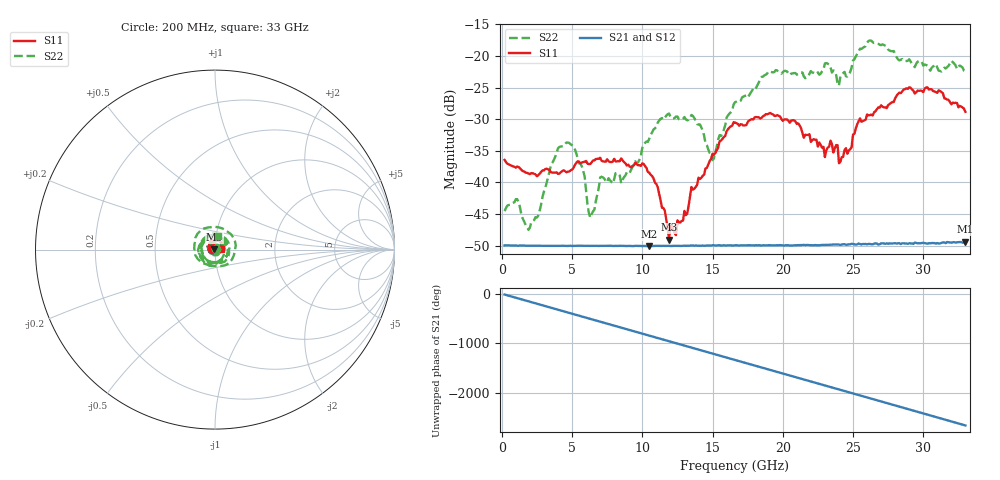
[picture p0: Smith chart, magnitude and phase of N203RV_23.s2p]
# GHZ S RI R 50
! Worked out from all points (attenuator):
!   329 points, 200 MHz to 33 GHz, reference 50 ohm
!   highest |S21| = -49.39 dB at 33 GHz (marker M1); lowest = -50.1 dB at 10.5 GHz (marker M2)
!   lowest |S11| = -49.1 dB at 11.9 GHz (marker M3), VSWR 1.01, Z = 49.7 + j0.0937 ohm
!   |S11| at or under -10 dB: start of sweep to end of sweep
!   |S22| runs from -47.5 to -17.5 dB; largest |S21 - S12| = 7.2e-05
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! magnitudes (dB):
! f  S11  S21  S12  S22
! 200 MHz  -36.4  -50.0  -50.0  -44.5
! 1.1 GHz  -37.5  -50.0  -50.0  -42.7
! 1.9 GHz  -38.6  -50.0  -50.0  -47.5
! 4.6 GHz  -38.4  -50.1  -50.0  -33.7
! 5.7 GHz  -36.8  -50.0  -50.0  -37.5
! 6.3 GHz  -37.1  -50.0  -50.0  -45.6
! 7 GHz  -36.1  -50.0  -50.0  -39.2
! 8.5 GHz  -36.2  -50.0  -50.0  -40.2
! 10.5 GHz  -38.5  -50.1  -50.1  -33.1
! 11.2 GHz  -41.8  -50.1  -50.0  -30.2
! 11.9 GHz  -49.1  -50.0  -50.0  -29.1
! 13.6 GHz  -41.1  -50.0  -50.0  -29.5
! 15 GHz  -35.5  -50.0  -50.0  -36.5
! 16.6 GHz  -30.5  -50.0  -50.0  -27.3
! 19 GHz  -29.1  -49.9  -49.9  -22.4
! 22.1 GHz  -33.3  -50.0  -49.9  -22.6
! 23.9 GHz  -34.1  -49.8  -49.8  -24.4
! 24 GHz  -37.0  -49.8  -49.9  -24.7
! 26.1 GHz  -29.4  -49.7  -49.7  -17.6
! 27.6 GHz  -27.6  -49.7  -49.7  -19.1
! 30.3 GHz  -24.9  -49.7  -49.7  -21.5
! 33 GHz  -28.8  -49.4  -49.4  -22.5
